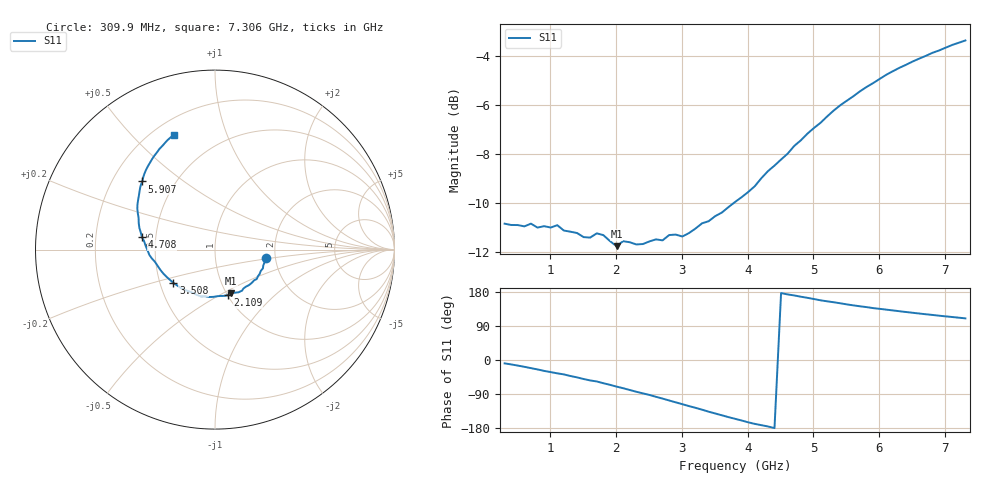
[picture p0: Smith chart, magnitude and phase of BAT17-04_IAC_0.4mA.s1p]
! Infineon Technologies  Discrete & RF Semiconductors
! BAT17-04
! IAC = 0.4 mA
! One-Port S-Parameters
# Hz  S  MA  R  50
!f  S11
!Hz  Mag  Ang
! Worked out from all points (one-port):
!   71 points, 309.9 MHz to 7.306 GHz, reference 50 ohm
!   lowest |S11| = -11.8 dB at 2.009 GHz (marker M1), VSWR 1.69, Z = 52.3 - j27.2 ohm
!   |S11| at or under -10 dB: start of sweep to 3.793 GHz
!   S11 on the Smith chart (normalised r, x): 309.9 MHz: 1.78, -0.17; 2.109 GHz: 1.00, -0.55; 3.508 GHz: 0.59, -0.24; 4.708 GHz: 0.42, +0.07; 5.907 GHz: 0.33, +0.36; 7.306 GHz: 0.28, +0.67
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3.0985e8  0.2866 -8.9
6.097e8  0.283 -17.9
7.0965e8  0.2867 -21.4
8.096e8  0.2814 -24.9
1.10945e9  0.2846 -35.2
1.2094e9  0.2775 -38.0
1.50925e9  0.2691 -50.2
1.70915e9  0.2739 -56.6
1.8091e9  0.2716 -61.3
2.009e9  0.2578 -70.2
2.10895e9  0.2639 -74.5
2.30885e9  0.2599 -83.8
2.6087e9  0.2662 -97.2
2.70865e9  0.265 -101.8
2.8086e9  0.2717 -106.9
3.0085e9  0.2698 -116.6
3.30835e9  0.2871 -131.1
3.50825e9  0.297 -141.2
3.8081e9  0.3174 -155.2
4.10795e9  0.3419 -168.6
4.30785e9  0.3669 -175.3
4.70765e9  0.4133 170.3
5.30735e9  0.4883 152.4
5.6072e9  0.5224 144.1
5.90705e9  0.5556 136.9
6.2069e9  0.5876 130.8
6.50675e9  0.615 124.6
7.30635e9  0.679 109.8
